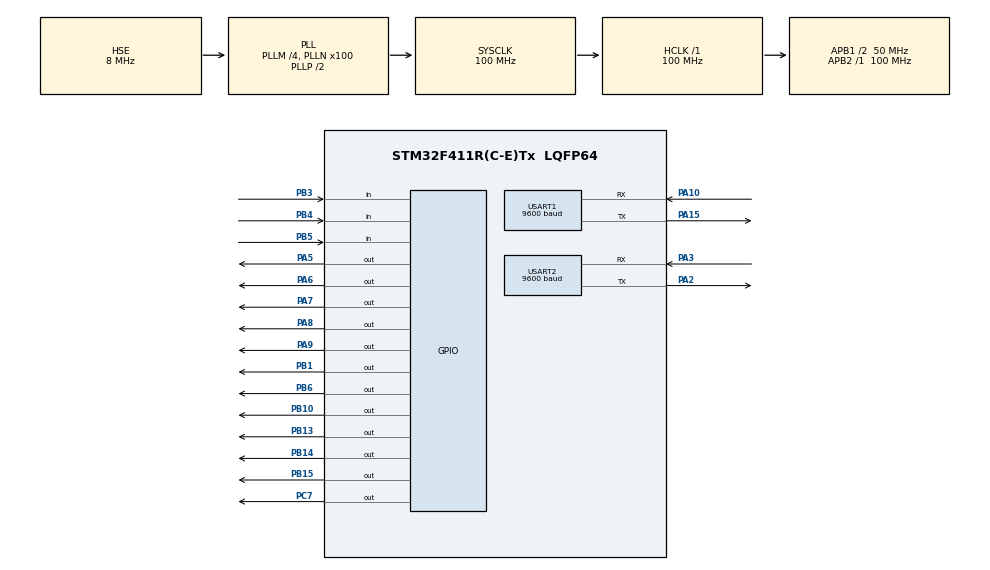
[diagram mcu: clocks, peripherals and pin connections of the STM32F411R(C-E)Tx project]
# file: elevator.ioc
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Mcu.Family=STM32F4
Mcu.Name=STM32F411R(C-E)Tx
Mcu.Package=LQFP64
NVIC.PriorityGroup=NVIC_PRIORITYGROUP_0
NVIC.USART1_IRQn=true\:0\:0\:false\:false\:true\:true\:true\:true
NVIC.USART2_IRQn=true\:0\:0\:false\:false\:true\:true\:true\:true
PA10.Mode=Asynchronous
PA10.Signal=USART1_RX
PA13.Mode=Serial_Wire
PA13.Signal=SYS_JTMS-SWDIO
PA14.Mode=Serial_Wire
PA14.Signal=SYS_JTCK-SWCLK
PA15.Mode=Asynchronous
PA15.Signal=USART1_TX
PA2.Mode=Asynchronous
PA2.Signal=USART2_TX
PA3.Mode=Asynchronous
PA3.Signal=USART2_RX
PA5.GPIO_ModeDefaultOutputPP=GPIO_MODE_OUTPUT_PP
PA5.GPIO_PuPd=GPIO_NOPULL
PA5.GPIO_Speed=GPIO_SPEED_FREQ_LOW
PA5.PinState=GPIO_PIN_RESET
PA5.Signal=GPIO_Output
PA6.GPIO_ModeDefaultOutputPP=GPIO_MODE_OUTPUT_PP
PA6.GPIO_PuPd=GPIO_NOPULL
PA6.GPIO_Speed=GPIO_SPEED_FREQ_LOW
PA6.PinState=GPIO_PIN_RESET
PA6.Signal=GPIO_Output
PA7.GPIO_ModeDefaultOutputPP=GPIO_MODE_OUTPUT_PP
PA7.GPIO_PuPd=GPIO_NOPULL
PA7.GPIO_Speed=GPIO_SPEED_FREQ_LOW
PA7.PinState=GPIO_PIN_RESET
PA7.Signal=GPIO_Output
PA8.PinState=GPIO_PIN_RESET
PA8.Signal=GPIO_Output
PA9.GPIO_ModeDefaultOutputPP=GPIO_MODE_OUTPUT_PP
PA9.GPIO_PuPd=GPIO_NOPULL
PA9.GPIO_Speed=GPIO_SPEED_FREQ_LOW
PA9.PinState=GPIO_PIN_RESET
PA9.Signal=GPIO_Output
PB1.Signal=GPIO_Output
PB10.GPIO_ModeDefaultOutputPP=GPIO_MODE_OUTPUT_PP
PB10.GPIO_PuPd=GPIO_NOPULL
PB10.GPIO_Speed=GPIO_SPEED_FREQ_LOW
PB10.PinState=GPIO_PIN_RESET
PB10.Signal=GPIO_Output
PB13.Signal=GPIO_Output
PB14.Signal=GPIO_Output
PB15.Signal=GPIO_Output
PB3.Signal=GPIO_Input
PB4.Signal=GPIO_Input
PB5.Signal=GPIO_Input
PB6.GPIO_ModeDefaultOutputPP=GPIO_MODE_OUTPUT_PP
PB6.GPIO_PuPd=GPIO_NOPULL
PB6.GPIO_Speed=GPIO_SPEED_FREQ_LOW
PB6.PinState=GPIO_PIN_RESET
PB6.Signal=GPIO_Output
PC7.GPIO_ModeDefaultOutputPP=GPIO_MODE_OUTPUT_PP
PC7.GPIO_PuPd=GPIO_NOPULL
PC7.GPIO_Speed=GPIO_SPEED_FREQ_LOW
PC7.PinState=GPIO_PIN_RESET
PC7.Signal=GPIO_Output
PH0\ -\ OSC_IN.Mode=HSE-External-Oscillator
PH0\ -\ OSC_IN.Signal=RCC_OSC_IN
PH1\ -\ OSC_OUT.Mode=HSE-External-Oscillator
PH1\ -\ OSC_OUT.Signal=RCC_OSC_OUT
ProjectManager.HeapSize=0x200
ProjectManager.StackSize=0x400
ProjectManager.TargetToolchain=STM32CubeIDE
RCC.48MHZClocksFreq_Value=50000000
RCC.AHBFreq_Value=100000000
RCC.APB1CLKDivider=RCC_HCLK_DIV2
RCC.APB1Freq_Value=50000000
RCC.APB1TimFreq_Value=100000000
RCC.APB2Freq_Value=100000000
RCC.APB2TimFreq_Value=100000000
RCC.CortexFreq_Value=100000000
RCC.HCLKFreq_Value=100000000
RCC.HSE_VALUE=8000000
RCC.HSI_VALUE=16000000
RCC.LSE_VALUE=32768
RCC.PLLM=4
RCC.PLLN=100
RCC.PLLSourceVirtual=RCC_PLLSOURCE_HSE
RCC.SYSCLKFreq_VALUE=100000000
RCC.SYSCLKSource=RCC_SYSCLKSOURCE_PLLCLK
RCC.VCOOutputFreq_Value=200000000
USART1.BaudRate=9600
USART1.VirtualMode=VM_ASYNC
USART2.BaudRate=9600
USART2.VirtualMode=VM_ASYNC
board=NUCLEO-F411RE

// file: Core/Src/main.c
/* USER CODE BEGIN Header */
/**
  ******************************************************************************
  * @file           : main.c
  * @brief          : Main program body
  ******************************************************************************
  * @attention
  *
  * Copyright (c) 2025 STMicroelectronics.
  * All rights reserved.
  *
  * This software is licensed under terms that can be found in the LICENSE file
  * in the root directory of this software component.
  * If no LICENSE file comes with this software, it is provided AS-IS.
  *
  ******************************************************************************
  */
/* USER CODE END Header */
#include "main.h"
#include "usart.h"
#include "gpio.h"

/* USER CODE BEGIN Includes */

#include "led.h"
#include "button.h"
#include "fnd.h"
#include "stepper.h"
#include "swTimer.h"

/* USER CODE END Includes */

/* USER CODE BEGIN PV */

uint8_t rxData1;
uint8_t rxData2;
uint8_t button1;
uint8_t button2;
uint8_t button3;

/* USER CODE END PV */

void SystemClock_Config(void);
/* USER CODE BEGIN PFP */

uint32_t millis()
{
	return HAL_GetTick();
}

void HAL_UART_RxCpltCallback(UART_HandleTypeDef *huart)
{

	if(huart->Instance == USART2)
		{
		HAL_UART_Receive_IT(&huart2, &rxData2, sizeof(rxData2));
	//	HAL_UART_Transmit_IT(&huart1, &rxData2, sizeof(rxData2));
	//	HAL_UART_Transmit(&huart1, &rxData2, sizeof(rxData2), 100);
		HAL_UART_Transmit(&huart1, &rxData2, sizeof(rxData2), HAL_MAX_DELAY );
		}

		else if(huart->Instance == USART1)
			{
			HAL_UART_Receive_IT(&huart1, &rxData1, sizeof(rxData1));
	//		HAL_UART_Transmit_IT(&huart2, &rxData1, sizeof(rxData1));
	//		 HAL_UART_Transmit(&huart2, &rxData1, sizeof(rxData1), 100);
			 HAL_UART_Transmit(&huart2, &rxData1, sizeof(rxData1), HAL_MAX_DELAY);
			}

}

void HAL_GPIO_EXTI_Callback(uint16_t GPIO_Pin)
{
	HAL_GPIO_TogglePin(GPIOA, GPIO_PIN_5);
}

/* USER CODE END PFP */

int main(void)
{

  /* MCU Configuration--------------------------------------------------------*/

  /* Reset of all peripherals, Initializes the Flash interface and the Systick. */
  HAL_Init();

  /* Configure the system clock */
  SystemClock_Config();

  /* Initialize all configured peripherals */
  MX_GPIO_Init();
  MX_USART1_UART_Init();
  MX_USART2_UART_Init();
  /* USER CODE BEGIN 2 */

  HAL_UART_Receive_IT(&huart1, &rxData1, 1);
  HAL_UART_Receive_IT(&huart2, &rxData2, 1);

  /* USER CODE END 2 */

  /* Infinite loop */
  /* USER CODE BEGIN WHILE */
  while (1)
  {

//	  HAL_GPIO_TogglePin(GPIOA, GPIO_PIN_5);

	  uint8_t i = rxData1 -'0';

	  if (rxData1 >= '0' && rxData1 <= '9')
	     {
	              switch ( i )
	          {

	          case  0 : displayNumber(0); break;
	          case  1 : displayNumber(1); break;
	          case  2:  displayNumber(2); break;
	          case  3 : displayNumber(3); break;
	          case  4 : displayNumber(4); break;
	          case  5 : displayNumber(5); break;
	          case  6 : displayNumber(6); break;
	          case  7 : displayNumber(7); break;
	          case  8 : displayNumber(8); break;
	          case  9:  displayNumber(9); break;
	          }

	     }

//	  for (int i = 0; i < 10; i++) {
//	              displayNumber(i);     // FND에 숫자 표시
//	              HAL_Delay(500);       // 0.5초 대기
//	          }
//

//	  button1 = HAL_GPIO_ReadPin(GPIOB, GPIO_PIN_4);
//	  button2 = HAL_GPIO_ReadPin(GPIOB, GPIO_PIN_5);
//	  button3 = HAL_GPIO_ReadPin(GPIOB, GPIO_PIN_3);

//		 if (buttonGetPressed(0))
//		 {
//
//			 HAL_GPIO_TogglePin(GPIOA, GPIO_PIN_5);
//		 }
//		 if (buttonGetPressed(1))
//		 {
//
//			  HAL_GPIO_TogglePin(GPIOA, GPIO_PIN_6);
//		  }
//		 if (buttonGetPressed(2))
//		  {
//
//			  HAL_GPIO_TogglePin(GPIOA, GPIO_PIN_7);
////
//		  }

  	}

    /* USER CODE END WHILE */

}

void SystemClock_Config(void)
{
  RCC_OscInitTypeDef RCC_OscInitStruct = {0};
  RCC_ClkInitTypeDef RCC_ClkInitStruct = {0};

  /** Configure the main internal regulator output voltage
  */
  __HAL_RCC_PWR_CLK_ENABLE();
  __HAL_PWR_VOLTAGESCALING_CONFIG(PWR_REGULATOR_VOLTAGE_SCALE1);

  /** Initializes the RCC Oscillators according to the specified parameters
  * in the RCC_OscInitTypeDef structure.
  */
  RCC_OscInitStruct.OscillatorType = RCC_OSCILLATORTYPE_HSE;
  RCC_OscInitStruct.HSEState = RCC_HSE_ON;
  RCC_OscInitStruct.PLL.PLLState = RCC_PLL_ON;
  RCC_OscInitStruct.PLL.PLLSource = RCC_PLLSOURCE_HSE;
  RCC_OscInitStruct.PLL.PLLM = 4;
  RCC_OscInitStruct.PLL.PLLN = 100;
  RCC_OscInitStruct.PLL.PLLP = RCC_PLLP_DIV2;
  RCC_OscInitStruct.PLL.PLLQ = 4;
  if (HAL_RCC_OscConfig(&RCC_OscInitStruct) != HAL_OK)
  {
    Error_Handler();
  }

  /** Initializes the CPU, AHB and APB buses clocks
  */
  RCC_ClkInitStruct.ClockType = RCC_CLOCKTYPE_HCLK|RCC_CLOCKTYPE_SYSCLK
                              |RCC_CLOCKTYPE_PCLK1|RCC_CLOCKTYPE_PCLK2;
  RCC_ClkInitStruct.SYSCLKSource = RCC_SYSCLKSOURCE_PLLCLK;
  RCC_ClkInitStruct.AHBCLKDivider = RCC_SYSCLK_DIV1;
  RCC_ClkInitStruct.APB1CLKDivider = RCC_HCLK_DIV2;
  RCC_ClkInitStruct.APB2CLKDivider = RCC_HCLK_DIV1;

  if (HAL_RCC_ClockConfig(&RCC_ClkInitStruct, FLASH_LATENCY_3) != HAL_OK)
  {
    Error_Handler();
  }
}

void Error_Handler(void)
{
  __disable_irq();
  while (1)
  {
  }
}
